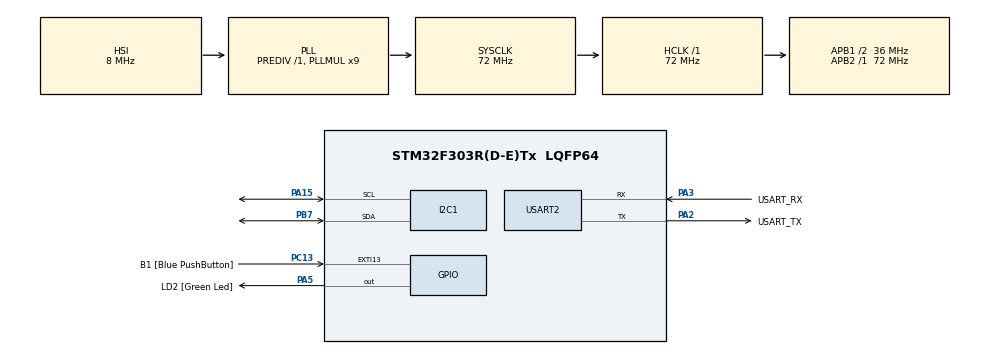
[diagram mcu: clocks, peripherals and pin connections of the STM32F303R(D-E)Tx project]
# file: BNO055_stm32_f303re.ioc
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Dma.I2C1_RX.0.Direction=DMA_PERIPH_TO_MEMORY
Dma.I2C1_RX.0.Instance=DMA1_Channel7
Dma.I2C1_RX.0.MemDataAlignment=DMA_MDATAALIGN_BYTE
Dma.I2C1_RX.0.MemInc=DMA_MINC_ENABLE
Dma.I2C1_RX.0.Mode=DMA_NORMAL
Dma.I2C1_RX.0.PeriphDataAlignment=DMA_PDATAALIGN_BYTE
Dma.I2C1_RX.0.PeriphInc=DMA_PINC_DISABLE
Dma.I2C1_RX.0.Priority=DMA_PRIORITY_LOW
Dma.I2C1_TX.1.Direction=DMA_MEMORY_TO_PERIPH
Dma.I2C1_TX.1.Instance=DMA1_Channel6
Dma.I2C1_TX.1.MemDataAlignment=DMA_MDATAALIGN_BYTE
Dma.I2C1_TX.1.MemInc=DMA_MINC_ENABLE
Dma.I2C1_TX.1.Mode=DMA_NORMAL
Dma.I2C1_TX.1.PeriphDataAlignment=DMA_PDATAALIGN_BYTE
Dma.I2C1_TX.1.PeriphInc=DMA_PINC_DISABLE
Dma.I2C1_TX.1.Priority=DMA_PRIORITY_LOW
Dma.Request0=I2C1_RX
Dma.Request1=I2C1_TX
Mcu.Family=STM32F3
Mcu.Name=STM32F303R(D-E)Tx
Mcu.Package=LQFP64
NVIC.DMA1_Channel6_IRQn=true\:0\:0\:false\:false\:true\:false\:true\:true
NVIC.DMA1_Channel7_IRQn=true\:0\:0\:false\:false\:true\:false\:true\:true
NVIC.PriorityGroup=NVIC_PRIORITYGROUP_0
PA13.GPIO_Label=TMS
PA13.Mode=Serial_Wire
PA13.Signal=SYS_JTMS-SWDIO
PA14.GPIO_Label=TCK
PA14.Mode=Serial_Wire
PA14.Signal=SYS_JTCK-SWCLK
PA15.GPIO_Pu=GPIO_PULLUP
PA15.Mode=I2C
PA15.Signal=I2C1_SCL
PA2.GPIO_Label=USART_TX
PA2.GPIO_Mode=GPIO_MODE_AF_PP
PA2.GPIO_PuPd=GPIO_NOPULL
PA2.GPIO_Speed=GPIO_SPEED_FREQ_LOW
PA2.Mode=Asynchronous
PA2.Signal=USART2_TX
PA3.GPIO_Label=USART_RX
PA3.GPIO_Mode=GPIO_MODE_AF_PP
PA3.GPIO_PuPd=GPIO_NOPULL
PA3.GPIO_Speed=GPIO_SPEED_FREQ_LOW
PA3.Mode=Asynchronous
PA3.Signal=USART2_RX
PA5.GPIO_Label=LD2 [Green Led]
PA5.GPIO_Mode=GPIO_MODE_OUTPUT_PP
PA5.GPIO_PuPd=GPIO_NOPULL
PA5.GPIO_Speed=GPIO_SPEED_FREQ_LOW
PA5.Signal=GPIO_Output
PB3.GPIO_Label=SWO
PB3.Signal=SYS_JTDO-TRACESWO
PB7.GPIO_Pu=GPIO_PULLUP
PB7.Mode=I2C
PB7.Signal=I2C1_SDA
PC13.GPIO_Label=B1 [Blue PushButton]
PC13.GPIO_ModeDefaultEXTI=GPIO_MODE_IT_FALLING
PC13.Signal=GPXTI13
PC14-OSC32_IN.Mode=LSE-External-Oscillator
PC14-OSC32_IN.Signal=RCC_OSC32_IN
PC15-OSC32_OUT.Mode=LSE-External-Oscillator
PC15-OSC32_OUT.Signal=RCC_OSC32_OUT
PF0-OSC_IN.Mode=HSE-External-Clock-Source
PF0-OSC_IN.Signal=RCC_OSC_IN
PF1-OSC_OUT.Signal=RCC_OSC_OUT
ProjectManager.HeapSize=0x200
ProjectManager.StackSize=0x400
ProjectManager.TargetToolchain=STM32CubeIDE
RCC.AHBFreq_Value=72000000
RCC.APB1CLKDivider=RCC_HCLK_DIV2
RCC.APB1Freq_Value=36000000
RCC.APB1TimFreq_Value=72000000
RCC.APB2Freq_Value=72000000
RCC.APB2TimFreq_Value=72000000
RCC.CortexFreq_Value=72000000
RCC.HCLKFreq_Value=72000000
RCC.HSE_VALUE=8000000
RCC.HSI_VALUE=8000000
RCC.PLLM=8
RCC.PLLMUL=RCC_PLL_MUL9
RCC.PLLN=336
RCC.PLLP=RCC_PLLP_DIV4
RCC.PLLQ=7
RCC.RCC_PLLsource_Clock_Source_FROM_HSE=RCC_HSE_PREDIV_DIV2
RCC.SYSCLKFreq_VALUE=72000000
RCC.SYSCLKSourceVirtual=RCC_SYSCLKSOURCE_PLLCLK
RCC.USBFreq_Value=72000000
TIM17.Period=999
USART2.VirtualMode-Asynchronous=VM_ASYNC
VP_TIM17_VS_ClockSourceINT.Mode=Enable_Timer
board=NUCLEO-F303RE

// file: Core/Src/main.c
/* USER CODE BEGIN Header */
/**
  ******************************************************************************
  * @file           : main.c
  * @brief          : Main program body
  ******************************************************************************
  * @attention
  *
  * Copyright (c) 2023 STMicroelectronics.
  * All rights reserved.
  *
  * This software is licensed under terms that can be found in the LICENSE file
  * in the root directory of this software component.
  * If no LICENSE file comes with this software, it is provided AS-IS.
  *
  ******************************************************************************
  */
/* USER CODE END Header */
#include "main.h"
#include "dma.h"
#include "i2c.h"
#include "tim.h"
#include "usart.h"
#include "gpio.h"

/* USER CODE BEGIN Includes */
#include "BNO055.h"
/* USER CODE END Includes */

/* USER CODE BEGIN PV */
uint16_t gyr_data;
BNO055_FUNC_RETURN ret;
/* USER CODE END PV */

void SystemClock_Config(void);

int main(void)
{

  /* MCU Configuration--------------------------------------------------------*/

  /* Reset of all peripherals, Initializes the Flash interface and the Systick. */
  HAL_Init();

  /* Configure the system clock */
  SystemClock_Config();

  /* Initialize all configured peripherals */
  MX_GPIO_Init();
  MX_DMA_Init();
  MX_USART2_UART_Init();
  MX_I2C1_Init();
  MX_TIM17_Init();
  /* USER CODE BEGIN 2 */
  bno055_set_i2c_handler(&hi2c1);
  /* USER CODE END 2 */
  // Initialize BNO055 configuration
  ret = bno055_init(&default_bno055_config, &default_bno055_verification);

  char buffer[100];
  //uint16_t gyro_w, gyro_x, gyro_y, gyro_z;
  double f_gyro_x, f_gyro_y, f_gyro_z;
  double f_acc_x, f_acc_y, f_acc_z;
  bno055_linear_acc_t acc_xyz;
  bno055_euler_t euler_hrp;
  /* Infinite loop */
  /* USER CODE BEGIN WHILE */
  while (1)
  {
	  HAL_Delay(100);
	  HAL_GPIO_TogglePin(GPIOA, GPIO_PIN_5);
	  bno055_read_euler_hrp(&euler_hrp);
	  bno055_read_linear_acc_xyz(&acc_xyz);
	  /*
	  bno055_read_quaternion_w(&gyro_w);
	  bno055_read_quaternion_x(&gyro_x);
	  bno055_read_quaternion_y(&gyro_y);
	  bno055_read_quaternion_z(&gyro_z);

	  f_gyro_w = gyro_w / (float)(1 << 14);
	  f_gyro_x = gyro_x / (float)(1 << 14);
	  f_gyro_y = gyro_y / (float)(1 << 14);
	  f_gyro_z = gyro_z / (float)(1 << 14);

	  bno055_read_euler_h(&gyro_x);
	  bno055_read_euler_p(&gyro_y);
	  bno055_read_euler_r(&gyro_z);

	  f_gyro_x = (int16_t)gyro_x / 16.0;
	  f_gyro_y = (int16_t)gyro_y / 16.0;
	  f_gyro_z = (int16_t)gyro_z / 16.0;
	   */

	  f_gyro_x = (int16_t)euler_hrp.h / 16.0;
	  f_gyro_y = (int16_t)euler_hrp.r / 16.0;
	  f_gyro_z = (int16_t)euler_hrp.p / 16.0;

	  f_acc_x = (int16_t)acc_xyz.x / 100.0;
	  f_acc_y = (int16_t)acc_xyz.y / 100.0;
	  f_acc_z = (int16_t)acc_xyz.z / 100.0;

	  //snprintf(buffer, sizeof(buffer), "%.2f,%.2f,%.2f\r\n", f_gyro_x, f_gyro_y, f_gyro_z);
	  //snprintf(buffer, sizeof(buffer), "%.2f,%.2f,%.2f\r\n", f_acc_x, f_acc_y, f_acc_z);
	  snprintf(buffer, sizeof(buffer), "%.2f,%.2f,%.2f,%.2f,%.2f,%.2f\r\n", f_gyro_x, f_gyro_y, f_gyro_z, f_acc_x, f_acc_y, f_acc_z);
	  HAL_UART_Transmit(&huart2, (uint8_t *)buffer, strlen(buffer), HAL_MAX_DELAY);
    /* USER CODE END WHILE */

  }
}

void SystemClock_Config(void)
{
  RCC_OscInitTypeDef RCC_OscInitStruct = {0};
  RCC_ClkInitTypeDef RCC_ClkInitStruct = {0};
  RCC_PeriphCLKInitTypeDef PeriphClkInit = {0};

  /** Initializes the RCC Oscillators according to the specified parameters
  * in the RCC_OscInitTypeDef structure.
  */
  RCC_OscInitStruct.OscillatorType = RCC_OSCILLATORTYPE_HSI;
  RCC_OscInitStruct.HSIState = RCC_HSI_ON;
  RCC_OscInitStruct.HSICalibrationValue = RCC_HSICALIBRATION_DEFAULT;
  RCC_OscInitStruct.PLL.PLLState = RCC_PLL_ON;
  RCC_OscInitStruct.PLL.PLLSource = RCC_PLLSOURCE_HSI;
  RCC_OscInitStruct.PLL.PLLMUL = RCC_PLL_MUL9;
  RCC_OscInitStruct.PLL.PREDIV = RCC_PREDIV_DIV1;
  if (HAL_RCC_OscConfig(&RCC_OscInitStruct) != HAL_OK)
  {
    Error_Handler();
  }

  /** Initializes the CPU, AHB and APB buses clocks
  */
  RCC_ClkInitStruct.ClockType = RCC_CLOCKTYPE_HCLK|RCC_CLOCKTYPE_SYSCLK
                              |RCC_CLOCKTYPE_PCLK1|RCC_CLOCKTYPE_PCLK2;
  RCC_ClkInitStruct.SYSCLKSource = RCC_SYSCLKSOURCE_PLLCLK;
  RCC_ClkInitStruct.AHBCLKDivider = RCC_SYSCLK_DIV1;
  RCC_ClkInitStruct.APB1CLKDivider = RCC_HCLK_DIV2;
  RCC_ClkInitStruct.APB2CLKDivider = RCC_HCLK_DIV1;

  if (HAL_RCC_ClockConfig(&RCC_ClkInitStruct, FLASH_LATENCY_2) != HAL_OK)
  {
    Error_Handler();
  }
  PeriphClkInit.PeriphClockSelection = RCC_PERIPHCLK_USART2|RCC_PERIPHCLK_I2C1
                              |RCC_PERIPHCLK_TIM17;
  PeriphClkInit.Usart2ClockSelection = RCC_USART2CLKSOURCE_PCLK1;
  PeriphClkInit.I2c1ClockSelection = RCC_I2C1CLKSOURCE_HSI;
  PeriphClkInit.Tim17ClockSelection = RCC_TIM17CLK_HCLK;
  if (HAL_RCCEx_PeriphCLKConfig(&PeriphClkInit) != HAL_OK)
  {
    Error_Handler();
  }
}

/* USER CODE BEGIN 4 */
#ifdef __GNUC__
#define PUTCHAR_PROTOTYPE int __io_putchar(int ch)
#else
#define PUTCHAR_PROTOTYPE int fputc(int ch, FILE *f)
#endif

PUTCHAR_PROTOTYPE
{
  HAL_UART_Transmit(&huart2, (uint8_t *)&ch, 1, HAL_MAX_DELAY);
  return ch;
}
/* USER CODE END 4 */

void Error_Handler(void)
{
  __disable_irq();
  while (1)
  {
  }
}
